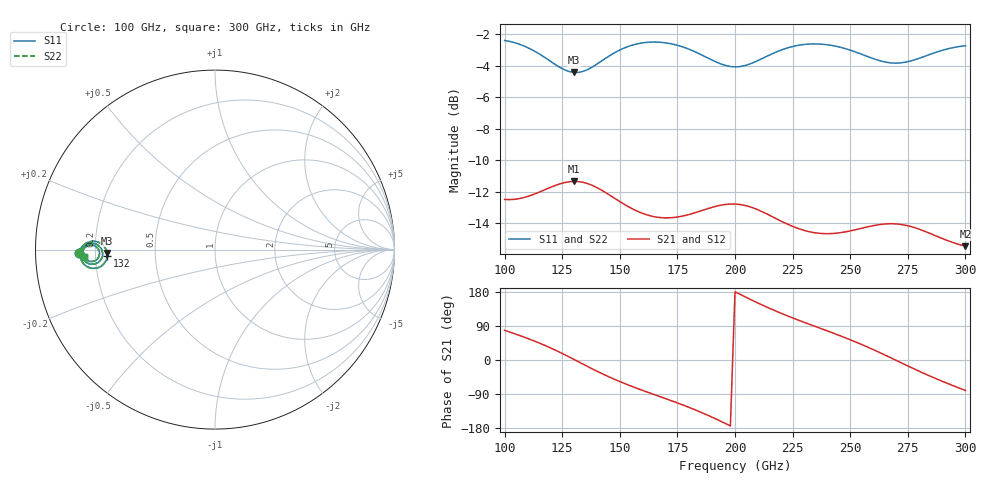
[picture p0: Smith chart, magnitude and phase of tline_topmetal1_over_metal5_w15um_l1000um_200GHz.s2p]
#  GHZ S DB R 50
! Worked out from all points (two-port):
!   101 points, 100 GHz to 300 GHz, reference 50 ohm
!   highest |S21| = -11.34 dB at 130 GHz (marker M1); lowest = -15.4 dB at 300 GHz (marker M2)
!   |S21| within 3 dB of the highest: start of sweep to 227.6 GHz; 254.2 GHz to 279.3 GHz (25.03 GHz wide, 9.38 % of centre)
!   lowest |S11| = -4.4 dB at 130 GHz (marker M3), VSWR 4.01, Z = 12.5 - j0.722 ohm
!   |S11| at or under -10 dB: nowhere
!   |S22| runs from -4.4 to -2.4 dB; largest |S21 - S12| = 4.7e-15
!   S11 on the Smith chart (normalised r, x): 100 GHz: 0.14, -0.01; 132 GHz: 0.25, -0.03; 300 GHz: 0.16, -0.03
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100  -2.39 -178.6  -12.48 78.3  -12.48 78.3  -2.39 -178.6
116  -3.33 176.1  -11.96 42.4  -11.96 42.4  -3.32 176.1
122  -3.92 176.9  -11.59 26.1  -11.59 26.1  -3.90 176.9
130  -4.42 -178.2  -11.34 1.9  -11.34 1.9  -4.40 -178.2
132  -4.42 -176.6  -11.35 -4.4  -11.35 -4.4  -4.40 -176.6
134  -4.36 -175.1  -11.39 -10.7  -11.39 -10.7  -4.34 -175.1
142  -3.70 -171.3  -11.89 -35.1  -11.89 -35.1  -3.69 -171.3
148  -3.15 -171.4  -12.43 -51.7  -12.43 -51.7  -3.14 -171.4
158  -2.59 -174.6  -13.25 -75.9  -13.25 -75.9  -2.59 -174.6
168  -2.51 -178.6  -13.64 -97.9  -13.64 -97.9  -2.51 -178.6
186  -3.34 177.1  -13.17 -140.0  -13.17 -140.0  -3.33 177.1
194  -3.89 178.8  -12.84 -162.2  -12.84 -162.2  -3.88 178.8
200  -4.07 -178.1  -12.77 179.9  -12.77 179.9  -4.05 -178.1
206  -3.91 -175.0  -12.93 161.9  -12.93 161.9  -3.90 -175.0
216  -3.25 -173.2  -13.56 133.7  -13.56 133.7  -3.24 -173.2
224  -2.81 -174.6  -14.13 113.5  -14.13 113.5  -2.81 -174.6
234  -2.61 -177.6  -14.58 90.4  -14.58 90.4  -2.61 -177.7
252  -3.11 178.0  -14.41 48.5  -14.41 48.5  -3.10 178.0
268  -3.82 -178.9  -14.02 4.7  -14.02 4.7  -3.81 -179.0
276  -3.70 -175.8  -14.19 -18.5  -14.19 -18.5  -3.70 -175.9
284  -3.31 -174.5  -14.60 -40.7  -14.60 -40.7  -3.31 -174.5
300  -2.73 -176.9  -15.45 -80.4  -15.45 -80.4  -2.73 -176.9
